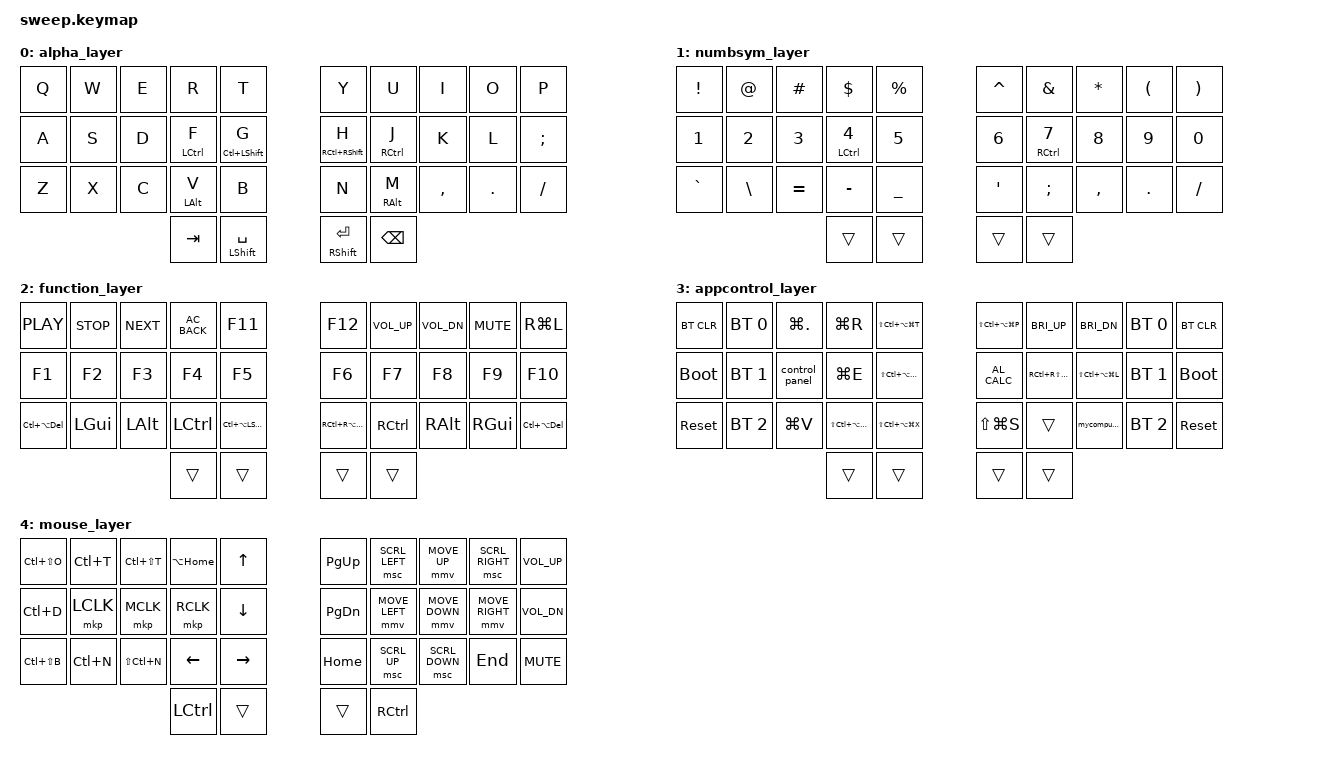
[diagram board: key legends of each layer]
// Copyright (c) 2022 The ZMK Contributors
// SPDX-License-Identifier: MIT

#include <behaviors.dtsi>
#include <dt-bindings/zmk/keys.h>
#include <dt-bindings/zmk/bt.h>
#include <dt-bindings/zmk/mouse.h>
#include <behaviors/mouse_keys.dtsi>

// Define layers

#define LAYER_ALPHA 0
#define LAYER_NUMBSYM 1
#define LAYER_FUNCTION 2
#define LAYER_APPCONTROL 3
#define LAYER_MOUSE 4

// Define positions for combos

#define	qk	0
#define	wk	1
#define	ek	2
#define	rk	3
#define	tk	4
#define	yk	5
#define	uk	6
#define	ik	7
#define	ok	8
#define	pk	9
#define	ak	10
#define	sk	11
#define	dk	12
#define	fk	13
#define	gk	14
#define	hk	15
#define	jk	16
#define	kk	17
#define	lk	18
#define	semik	19
#define	zk	20
#define	xk	21
#define	ck	22
#define	vk	23
#define	bk	24
#define	nk	25
#define	mk	26
#define	commak	27
#define	periodk	28
#define	slashk	29
#define	tabk	30
#define	spacek	31
#define	enterk	32
#define	backspk	33

#define LEFT_K qk wk ek rk tk ak sk dk fk gk zk xk ck vk bk
#define RIGHT_K yk uk ik ok pk hk jk lk semik nk mk commak periodk slashk
#define THUMB_K tabk spacek enterk backspk

&caps_word {
    continue-list = <BACKSPACE DELETE>;
};

/ {
    macros {
        control_panel: control_panel { 
            compatible = "zmk,behavior-macro";
            #binding-cells = <0>;
            bindings
                = <&macro_press &kp RGUI>
                , <&macro_tap &kp R>
		, <&macro_wait_time 80>
                , <&macro_release &kp RGUI>
                , <&macro_tap &kp C &kp O &kp N &kp T &kp R &kp O &kp L &kp ENTER>
                ;
        };

        launch_chrome: launch_chrome { 
            compatible = "zmk,behavior-macro";
            #binding-cells = <0>;
            bindings
                = <&macro_press &kp RGUI>
                , <&macro_tap &kp R>
		, <&macro_wait_time 80>
                , <&macro_release &kp RGUI>
                , <&macro_tap &kp C &kp H &kp R &kp O &kp M &kp E &kp ENTER>
                ;
        };

        mycomputer: mycomputer { 
            compatible = "zmk,behavior-macro";
            #binding-cells = <0>;
            bindings
                = <&macro_press &kp RGUI>
                , <&macro_tap &kp R>
		, <&macro_wait_time 80>
                , <&macro_release &kp RGUI>
                , <&macro_tap &kp S &kp H &kp E &kp L &kp L &kp COLON &kp M &kp Y &kp C &kp O &kp M &kp P &kp U &kp T &kp E &kp R &kp F &kp O &kp L &kp D &kp E &kp R &kp ENTER>
                ;
        };
	
	launch_vscode: launch_vscode { 
            compatible = "zmk,behavior-macro";
            #binding-cells = <0>;
            bindings
                = <&macro_press &kp RGUI>
                , <&macro_tap &kp R>
		, <&macro_wait_time 80>
                , <&macro_release &kp RGUI>
                , <&macro_tap &kp C &kp O &kp D &kp E &kp ENTER>
                ;
        };

    	launch_edge: launch_edge { 
            compatible = "zmk,behavior-macro";
            #binding-cells = <0>;
            bindings
                = <&macro_press &kp RGUI>
                , <&macro_tap &kp R>
		, <&macro_wait_time 80>
                , <&macro_release &kp RGUI>
                , <&macro_tap &kp M &kp I &kp C &kp R &kp O &kp S &kp O &kp F &kp T &kp MINUS &kp E &kp D &kp G &kp E &kp COLON &kp ENTER>
                ;
        };
    	
	launch_notepadpp: launch_notepadpp { 
            compatible = "zmk,behavior-macro";
            #binding-cells = <0>;
            bindings
                = <&macro_press &kp RGUI>
                , <&macro_tap &kp R>
		, <&macro_wait_time 80>
                , <&macro_release &kp RGUI>
                , <&macro_tap &kp N &kp O &kp T &kp E &kp P &kp A &kp D &kp PLUS &kp PLUS &kp ENTER>
                ;
        };
    	
        // Layer with mod when held
	
	lm: lm {
	    compatible = "zmk,behavior-macro-two-param";
	    wait-ms = <0>;
	    tap-ms = <0>;
	    #binding-cells = <2>;
	    bindings
	        = <&macro_param_1to1>
	        , <&macro_press &mo MACRO_PLACEHOLDER>
	        , <&macro_param_2to1>
	        , <&macro_press &kp MACRO_PLACEHOLDER>
	        , <&macro_pause_for_release>
	        , <&macro_param_2to1>
	        , <&macro_release &kp MACRO_PLACEHOLDER>
	        , <&macro_param_1to1>
	        , <&macro_release &mo MACRO_PLACEHOLDER>
	        ;
	};
    };
};


/ {
    combos {
        compatible = "zmk,combos";

        // Characters
		
        combo_doublequ {
            timeout-ms = <50>;
            key-positions = <dk fk>;
            bindings = <&kp DQT>;
        };
	combo_singlequ {
            timeout-ms = <50>;
            key-positions = <jk kk>;
            bindings = <&kp SQT>;
        };
	combo_lpar {
            timeout-ms = <50>;
            key-positions = <ck vk>;
            bindings = <&kp LPAR>;
        };
	combo_rpar {
            timeout-ms = <50>;
            key-positions = <mk commak>;
            bindings = <&kp RPAR>;
        };
	combo_lbrace {
            timeout-ms = <50>;
            key-positions = <xk ck vk>;
            bindings = <&kp LBKT>;
        };
	combo_rbrace {
            timeout-ms = <50>;
            key-positions = <mk commak periodk>;
            bindings = <&kp RBKT>;
        };
	combo_lcurly {
            timeout-ms = <50>;
            key-positions = <xk vk>;
            bindings = <&kp LBRC>;
        };
	combo_rcurly {
            timeout-ms = <50>;
            key-positions = <mk periodk>;
            bindings = <&kp RBRC>;
        };

        // macro combos

         combo_chrome {
            timeout-ms = <50>;
	    require-prior-idle-ms = <300>;
            key-positions = <ck hk>;
            bindings = <&launch_chrome>;
        };

        combo_mycomputer {
            timeout-ms = <50>;
	    require-prior-idle-ms = <300>;
            key-positions = <ck yk>;
            bindings = <&mycomputer>;
        };

        combo_cpanel {
            timeout-ms = <50>;
	    require-prior-idle-ms = <300>;
            key-positions = <ck nk>;
            bindings = <&control_panel>;
        };

        combo_vscode {
            timeout-ms = <50>;
	    require-prior-idle-ms = <300>;
            key-positions = <ck uk>;
            bindings = <&launch_vscode>;
        };

        combo_edge {
            timeout-ms = <50>;
	    require-prior-idle-ms = <300>;
            key-positions = <ck jk>;
            bindings = <&launch_edge>;
        };
        
        combo_notepadpp {
            timeout-ms = <50>;
	    require-prior-idle-ms = <300>;
            key-positions = <ck mk>;
            bindings = <&launch_notepadpp>;
        };

        // Layer combos
        
        combo_alpha {
            timeout-ms = <50>;
            key-positions = <jk kk lk>;
            bindings = <&to LAYER_ALPHA>;
        };
        combo_numbsym {
            timeout-ms = <50>;
            key-positions = <hk jk kk>;
            bindings = <&tog LAYER_NUMBSYM>;
        };
        combo_numbsymosl {
            timeout-ms = <50>;
            key-positions = <hk kk>;
            bindings = <&sl LAYER_NUMBSYM>;
        };
        combo_func {
            timeout-ms = <50>;
            key-positions = <nk mk commak>;
            bindings = <&tog LAYER_FUNCTION>;
        };
        combo_funcosl {
            timeout-ms = <50>;
            key-positions = <nk commak>;
            bindings = <&sl LAYER_FUNCTION>;
        };
        combo_apps {
            timeout-ms = <50>;
            key-positions = <yk uk ik>;
            bindings = <&tog LAYER_APPCONTROL>;
        };
        combo_appsosl {
            timeout-ms = <50>;
            key-positions = <yk ik>;
            bindings = <&sl LAYER_APPCONTROL>;
        };

        combo_mouse {
            timeout-ms = <50>;
            key-positions = <wk ek rk tk>;
            bindings = <&tog LAYER_MOUSE>;
        };
        
	// activate number layer with shift when held.

	comnbo_layermod_left {
	    timeout-ms = <50>;
            key-positions = <hk jk>;
            bindings = <&lm LAYER_NUMBSYM RSHIFT>;
	};

	// Behavioral

        combo_esc {
            timeout-ms = <50>;
            key-positions = <fk gk>;
            bindings = <&kp ESC>;
        };
	
	combo_winclose {
            timeout-ms = <50>;
 	    require-prior-idle-ms = <250>;
            key-positions = <rk tk>;
            bindings = <&kp LC(F4)>;
        };
	
	combo_appclose {
            timeout-ms = <50>;
 	    require-prior-idle-ms = <250>;
            key-positions = <vk bk>;
            bindings = <&kp LA(F4)>;
        };
	combo_caplock {
            timeout-ms = <50>;
            key-positions = <zk xk ck>;
            bindings = <&kp CAPS>;
        };
	combo_capsword {
            timeout-ms = <50>;
            key-positions = <ck bk>;
            bindings = <&caps_word>;
        };
	combo_del {
            timeout-ms = <50>;
            key-positions = <dk gk>;
            bindings = <&kp DEL>;
        };
	combo_leftarr {
            timeout-ms = <100>;
            key-positions = <dk fk gk>;
            bindings = <&kp LEFT>;
        };
	combo_rightarr {
            timeout-ms = <100>;
            key-positions = <ek rk tk>;
            bindings = <&kp RIGHT>;
        };
	combo_uparr {
            timeout-ms = <100>;
            key-positions = <wk ek rk>;
            bindings = <&kp UP>;
        };
	combo_dnarr {
            timeout-ms = <100>;
            key-positions = <sk dk fk>;
            bindings = <&kp DOWN>;
        };
	combo_pgup {
            timeout-ms = <50>;
            key-positions = <fk jk>;
            bindings = <&kp PG_UP>;
        };
	combo_pgdn {
            timeout-ms = <50>;
            key-positions = <vk mk>;
            bindings = <&kp PG_DN>;
        };
	combo_home {
            timeout-ms = <50>;
            key-positions = <gk hk>;
            bindings = <&kp HOME>;
        };
	combo_end {
            timeout-ms = <50>;
            key-positions = <bk nk>;
            bindings = <&kp END>;
        };
    	combo_teamsmute {
            timeout-ms = <50>;
            key-positions = <rk uk>;
            bindings = <&kp LS(LC(M))>;
        };
    	combo_teamsvidtog {
            timeout-ms = <50>;
            key-positions = <tk yk>;
            bindings = <&kp LS(LC(O))>;
        };
	// Boot key combos

	combo_bootleft {
            timeout-ms = <50>;
            key-positions = <qk tk>;
            bindings = <&bootloader>;
        };

	combo_bootright {
            timeout-ms = <50>;
            key-positions = <yk pk>;
            bindings = <&bootloader>;
        };

        // OSM keys

        combo_osmgui {
           timeout-ms = <50>;
           key-positions = <ek ik>;
           bindings = <&skt LGUI>;
        };

	combo_osmctl {
           timeout-ms = <50>;
           key-positions = <dk kk>;
           bindings = <&skt LCTRL>;
        };

        combo_osmalt {
           timeout-ms = <50>;
           key-positions = <ck commak>;
           bindings = <&skt LALT>;
        };

	combo_osmshift {
           timeout-ms = <50>;
           key-positions = <sk lk>;
           bindings = <&skt LSHIFT>;
        };

	combo_osmmeh {
           timeout-ms = <50>;
           key-positions = <xk periodk>;
           bindings = <&skt LC(LA(LSHIFT))>;
        };

	combo_osmhyper {
           timeout-ms = <50>;
           key-positions = <wk ok>;
           bindings = <&skt LG(LC(LA(LSHIFT)))>;
        };

	// Mouse combos

	combo_left_click {
            timeout-ms = <50>;
            key-positions = <sk fk>;
            bindings = <&mkp LCLK>;
        };
	combo_right_click {
            timeout-ms = <50>;
            key-positions = <wk rk>;
            bindings = <&mkp  RCLK>;
        };
	combo_middle_click {
            timeout-ms = <50>;
            key-positions = <ek tk>;
            bindings = <&mkp MCLK>;
        }; 
    };
};

/ {
    behaviors {
        ht: hold_tap {
            compatible = "zmk,behavior-hold-tap";
            #binding-cells = <2>;
            flavor = "tap-preferred";
            tapping-term-ms = <300>;
            quick-tap-ms = <200>;
            require-prior-idle-ms = <125>;
            bindings = <&kp>, <&kp>;
        };
	    htql: hold_tapql {
            compatible = "zmk,behavior-hold-tap";
            #binding-cells = <2>;
            flavor = "tap-preferred";
            tapping-term-ms = <300>;
            quick-tap-ms = <200>;
            require-prior-idle-ms = <125>;
            hold-trigger-key-positions = <RIGHT_K THUMB_K>;
            bindings = <&kp>, <&kp>;
        };
	    htqr: hold_tapqr {
            compatible = "zmk,behavior-hold-tap";
            #binding-cells = <2>;
            flavor = "tap-preferred";
            tapping-term-ms = <300>;
            quick-tap-ms = <200>;
            require-prior-idle-ms = <125>;
            hold-trigger-key-positions = <LEFT_K THUMB_K>;
            bindings = <&kp>, <&kp>;
        };
       
       htel: hold_tapel {
            compatible = "zmk,behavior-hold-tap";
            #binding-cells = <2>;
            flavor = "balanced";
            tapping-term-ms = <500>;
            quick-tap-ms = <175>;
            require-prior-idle-ms = <150>;
            hold-trigger-key-positions = <RIGHT_K THUMB_K>;
            hold-trigger-on-release;
            bindings = <&kp>, <&kp>;
        };
	    hter: hold_taper {
            compatible = "zmk,behavior-hold-tap";
            #binding-cells = <2>;
            flavor = "balanced";
            tapping-term-ms = <500>;
            quick-tap-ms = <175>;
            require-prior-idle-ms = <150>;
            hold-trigger-key-positions = <LEFT_K THUMB_K>;
            hold-trigger-on-release;
            bindings = <&kp>, <&kp>;
        };
       
       htl: hold_tap_ll {
            compatible = "zmk,behavior-hold-tap";
            #binding-cells = <2>;
            flavor = "tap-preferred";
            tapping-term-ms = <300>;
            quick-tap-ms = <200>;
            require-prior-idle-ms = <400>;
            hold-trigger-key-positions = <RIGHT_K THUMB_K>;
            bindings = <&kp>, <&kp>;
        };
        htr: hold_tap_lr {
            compatible = "zmk,behavior-hold-tap";
            #binding-cells = <2>;
            flavor = "tap-preferred";
            tapping-term-ms = <300>;
            quick-tap-ms = <200>;
            require-prior-idle-ms = <400>;
            hold-trigger-key-positions = <LEFT_K THUMB_K>;
            bindings = <&kp>, <&kp>;
        };
        pt: hold_tap_permissive {
            compatible = "zmk,behavior-hold-tap";
            #binding-cells = <2>;
            flavor = "balanced";
            tapping-term-ms = <220>;
            quick-tap-ms = <150>;
            bindings = <&kp>, <&kp>;
        };
        ptl: hold_tap_left {
            compatible = "zmk,behavior-hold-tap";
            #binding-cells = <2>;
            flavor = "hold-preferred";
            tapping-term-ms = <220>;
            quick-tap-ms = <150>;
            require-prior-idle-ms = <120>;
            hold-trigger-key-positions = <RIGHT_K THUMB_K>;
            bindings = <&kp>, <&kp>;
        };
        ptr: hold_tap_right {
            compatible = "zmk,behavior-hold-tap";
            #binding-cells = <2>;
            flavor = "hold-preferred";
            tapping-term-ms = <220>;
            quick-tap-ms = <150>;
            require-prior-idle-ms = <120>;
            hold-trigger-key-positions = <LEFT_K THUMB_K>;
            bindings = <&kp>, <&kp>;
        };
	skt: stick_key_test {
            compatible = "zmk,behavior-sticky-key";
            #binding-cells = <1>;
            bindings = <&kp>;
            release-after-ms = <3000>;
            ignore-modifiers;
      };
    };

    keymap {
        compatible = "zmk,keymap";
alpha_layer {
bindings = <
    &kp Q  &kp W  &kp E    &kp R           &kp T                 &kp  Y              &kp U              &kp I       &kp O    &kp P
    &kp A  &kp S  &kp D    &htel LCTRL F   &htel LC(LSHIFT) G    &hter RC(RSHIFT) H  &hter RCTRL J      &kp K       &kp L    &kp SEMI
    &kp Z  &kp X  &kp C    &htel LALT V    &kp B                 &kp  N              &hter RALT M       &kp COMMA   &kp DOT  &kp FSLH
                                           &kp TAB               &ptl LSHIFT SPACE   &ptr RSHIFT ENTER  &kp BSPC
            >;
        };

numbsym_layer {
bindings = <
  //│ !        │  @       │  #       │  $           │  %     │   │ ^         │ &             │ *        │ (        │  )       │
    &kp EXCL   &kp AT     &kp HASH   &kp DLLR        &kp PRCNT     &kp CARET  &kp AMPS        &kp ASTRK  &kp LPAR   &kp RPAR
    &kp N1     &kp N2     &kp N3     &htel LCTRL N4  &kp N5        &kp N6     &hter RCTRL N7  &kp N8     &kp N9     &kp N0
  //│ ` ~      │   \  |   │  = +     │  -           │  _     │   │  ' "      │  ; :         │ , <      │   . >    │   / ?    │
    &kp GRAVE  &kp BSLH   &kp EQUAL  &kp MINUS       &kp UNDER     &kp SQT    &kp SEMI       &kp COMMA  &kp DOT    &kp SLASH
                                     &trans          &trans        &trans     &trans
            >;
        };

function_layer {
bindings = <
    &kp C_PLAY      &kp C_STOP &kp C_NEXT &kp C_AC_BACK  &kp F11              &kp F12             &kp K_VOL_UP &kp C_VOL_DN  &kp C_MUTE  &kp RG(L)
    &kp F1          &kp F2     &kp F3     &kp F4         &kp F5               &kp F6              &kp F7       &kp F8        &kp F9      &kp F10
    &kp LC(LA(DEL)) &kp LGUI   &kp LALT   &kp LCTRL      &kp LC(LA(LSHIFT))   &kp RC(RA(RSHIFT))  &kp RCTRL    &kp RALT      &kp RGUI    &kp LC(LA(DEL))
                                          &trans         &trans               &trans              &trans
            >;
        };

appcontrol_layer {
bindings = <
&bt BT_CLR  &bt BT_SEL 0 &kp LG(DOT)     &kp LG(R)              &kp LS(LC(LA(LG(T))))    &kp LS(LC(LA(LG(P)))) &kp C_BRI_UP    &kp C_BRI_DN          &bt BT_SEL 0 &bt BT_CLR
&bootloader &bt BT_SEL 1 &control_panel  &kp LG(E)              &kp LS(LC(LA(LG(W))))    &kp C_AL_CALC         &kp RC(RS(ESC)) &kp LS(LC(LA(LG(L)))) &bt BT_SEL 1 &bootloader
&sys_reset  &bt BT_SEL 2 &kp LG(V)       &kp LS(LC(LA(LG(O))))  &kp LS(LC(LA(LG(X))))    &kp LS(LG(S))         &trans          &mycomputer           &bt BT_SEL 2 &sys_reset
                                         &trans                 &trans                   &trans                &trans
            >;
        };

mouse_layer {
bindings = <
    &kp LC(LS(O)) &kp LC(T)    &kp LC(LS(T))  &kp LA(HOME) &kp UP       &kp PG_UP    &msc SCRL_LEFT &mmv MOVE_UP    &msc SCRL_RIGHT  &kp K_VOL_UP
    &kp LC(D)     &mkp LCLK    &mkp MCLK      &mkp  RCLK   &kp DOWN     &kp PG_DN    &mmv MOVE_LEFT &mmv MOVE_DOWN  &mmv MOVE_RIGHT  &kp K_VOL_DN
    &kp LC(LS(B)) &kp LC(N)    &kp LS(LC(N))  &kp LEFT     &kp RIGHT    &kp HOME     &msc SCRL_UP   &msc SCRL_DOWN  &kp END          &kp K_MUTE
                                              &kp LCTRL    &trans       &trans       &kp RCTRL
            >;
        };
    };
};
